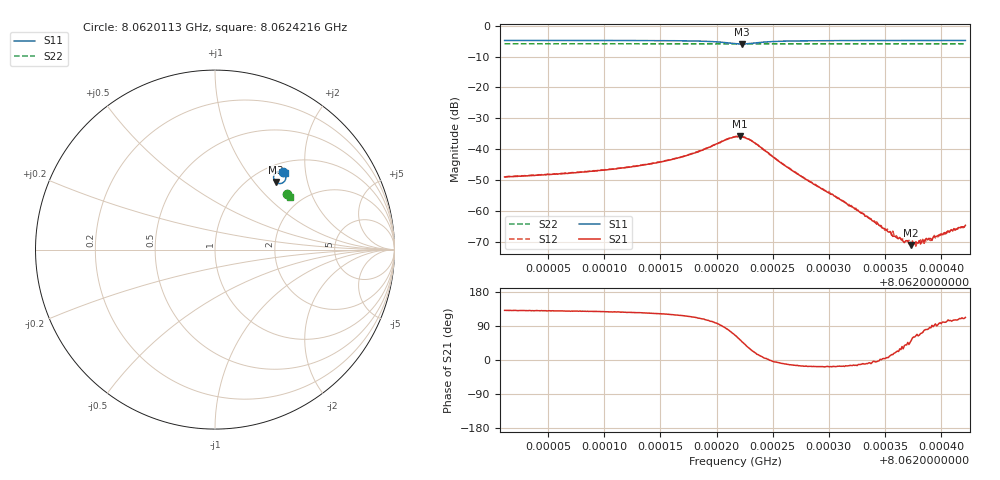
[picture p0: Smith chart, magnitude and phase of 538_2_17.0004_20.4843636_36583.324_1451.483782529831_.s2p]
#  HZ  S  RI  R  50.00
! Rohde & Schwarz Vector Network Analyzer
! Rohde-Schwarz,ZNB20-2Port,1311601062101988,3.16
! Created: UTC 3/20/2024, 11:16:11 PM
! freq[Hz]  re:S11  im:S11  re:S21  im:S21  re:S12  im:S12  re:S22  im:S22
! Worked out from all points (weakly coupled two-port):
!   401 points, 8.0620113 GHz to 8.0624216 GHz, reference 50 ohm
!   highest |S21| = -35.88 dB at 8.0622206 GHz (marker M1); lowest = -71.2 dB at 8.0623734 GHz (marker M2)
!   lowest |S11| = -5.9 dB at 8.0622226 GHz (marker M3), VSWR 3.05, Z = 64 + j64.8 ohm
!   |S11| at or under -10 dB: nowhere
!   |S22| runs from -5.9 to -5.9 dB; largest |S21 - S12| = 0.0011
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8.06201134e9  0.3777 0.4349  -0.00233 0.00267  -0.00216 0.00283  0.4031 0.3107
8.06208005e9  0.3834 0.4292  -0.00265 0.00333  -0.00249 0.00348  0.406 0.3072
8.06210979e9  0.3864 0.4256  -0.00288 0.00382  -0.00262 0.00403  0.4069 0.3054
8.06214876e9  0.3912 0.418  -0.0033 0.00516  -0.00296 0.00543  0.4083 0.3033
8.06217748e9  0.3945 0.4059  -0.00338 0.00759  -0.00298 0.00787  0.4092 0.3014
8.06220107e9  0.3886 0.3824  -0.0012 0.0122  -0.000435 0.0124  0.4094 0.2993
8.06221645e9  0.3557 0.3681  0.00657 0.0144  0.00741 0.0141  0.4082 0.2984
8.06222055e9  0.3428 0.3727  0.00936 0.0131  0.01 0.0126  0.4078 0.2986
8.0622226e9  0.3372 0.377  0.0105 0.0118  0.0112 0.0113  0.4078 0.2988
8.06223183e9  0.3264 0.4041  0.0122 0.00551  0.0126 0.00481  0.408 0.2995
8.06226055e9  0.3549 0.4356  0.00536 -0.000973  0.00534 -0.00132  0.4107 0.2992
8.06228516e9  0.3683 0.4354  0.00272 -0.000853  0.00269 -0.001  0.4121 0.2979
8.06232105e9  0.3777 0.4322  0.00112 -0.00029  0.00109 -0.000349  0.4136 0.2959
8.06235387e9  0.3827 0.4293  0.000448 7.73e-05  0.00047 5.92e-05  0.4149 0.2942
8.062359e9  0.3833 0.4289  0.000364 0.000126  0.000362 7.68e-05  0.415 0.294
8.0623631e9  0.3839 0.4285  0.000323 0.000183  0.000318 0.000129  0.4153 0.2936
8.06237335e9  0.3849 0.4277  0.000172 0.000217  0.000205 0.000215  0.4155 0.293
8.06237541e9  0.3852 0.4276  0.000147 0.000263  0.000182 0.000234  0.4157 0.2931
8.06238156e9  0.3859 0.4271  0.000101 0.000272  0.000121 0.000318  0.4159 0.2926
8.06238464e9  0.3862 0.427  6.73e-05 0.000312  0.000103 0.000262  0.4161 0.2926
8.06241027e9  0.3884 0.4253  -0.000118 0.000457  -0.000102 0.000503  0.417 0.2912
8.06242155e9  0.3896 0.4244  -0.000223 0.00054  -0.000185 0.000516  0.4173 0.2905
